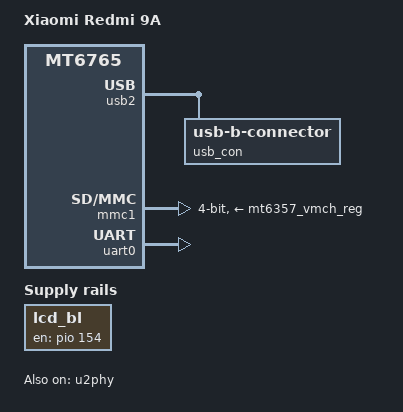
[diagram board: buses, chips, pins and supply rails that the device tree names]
/dts-v1/;

#include "mt6765.dtsi"
#include "mt6765-bl-quirks.dtsi"
#include "mt6357.dtsi"

/ {
    model = "Xiaomi Redmi 9A";
    compatible = "xiaomi,dandelion", "mediatek,mt6762", "mediatek,mt6765";

    aliases {
        serial0 = &uart0;
    };

    chosen {
        /*
         * FIXME: drop clk_ignore_unused, keeps getting watchdog rebooted without it for now!
         */
        bootargs = "clk_ignore_unused";

        stdout-path = "serial0:921600n1";

        /*
         * HACK: Use display framebuffer setup by the lk bootloader for simplefb
         * NOTE: only text is rendered on VT (TTY) as an unknown bit has to be flipped to disable
         *        image compression!
         */
        framebuffer0: framebuffer@7ec50000 {
            status = "okay";
            compatible = "simple-framebuffer";
            reg = <0 0x7ec50000 0 0xfb0000>;
            format = "a8r8g8b8";
            width = <720>;
            height = <1600>;
            stride = <((720 + 16) * 4)>;
        };
    };

    lcd_bl: lcd-backlight {
        compatible = "regulator-fixed";
        gpio = <&pio 154 GPIO_ACTIVE_HIGH>;
        regulator-name = "lcd-bl";
        enable-active-high;
        regulator-always-on;  /* hack this on until we get panel driver.
                                 remove this line if you don't want to
                                 slowly burn your screen. */
    };

    /* The following are required by stock bootloader to merge with minimal DTBO */
    gpio@10005000 {
        linux,phandle = <0xdead>;
        phandle = <0xdead>;
    };
    __symbols__ {
        gpio = "/gpio@10005000";
    };
};

&pwrap {
    status = "okay";
};

&usb2 {
    status = "okay";

    usb_con: connector {
        compatible = "usb-b-connector";
        type = "micro";
    };
};

&u2phy {
    status = "okay";
};

&u2port {
    clocks = <&topckgen CLK_TOP_USB20_48M_EN>;
};

&mmc1 {
    status = "okay";
    bus-width = <4>;

    vmmc-supply = <&mt6357_vmch_reg>;
    vqmmc-supply = <&mt6357_vmc_reg>;
    max-frequency = <200000000>;

    cap-sd-highspeed;
    sd-uhs-sdr12;
    sd-uhs-sdr25;
    sd-uhs-sdr50;
    sd-uhs-sdr104;
    sd-uhs-ddr50;
};

&uart0 {
    status = "okay";
};
